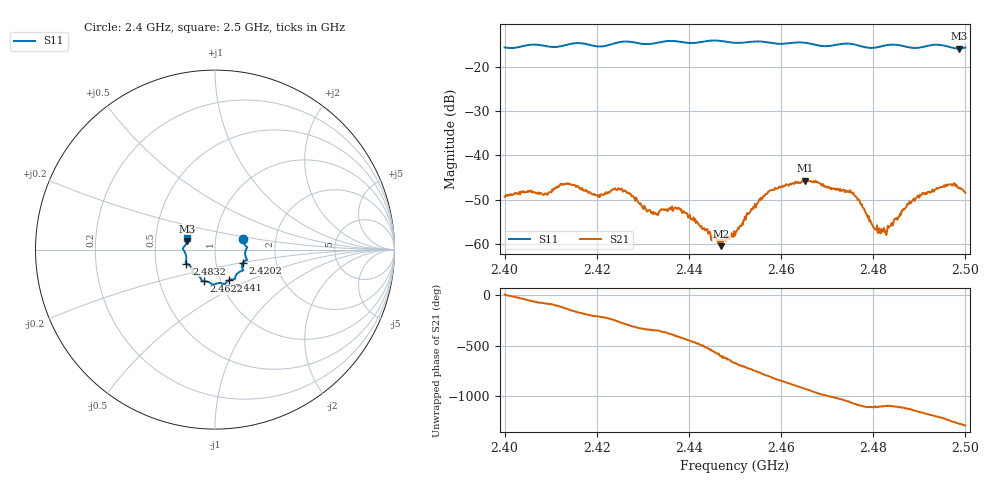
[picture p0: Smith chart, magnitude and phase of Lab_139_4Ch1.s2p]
# Hz S RI R 50
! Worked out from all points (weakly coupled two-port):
!   601 points, 2.4 GHz to 2.5 GHz, reference 50 ohm
!   highest |S21| = -45.69 dB at 2.4652 GHz (marker M1); lowest = -60.6 dB at 2.447 GHz (marker M2)
!   lowest |S11| = -15.8 dB at 2.4987 GHz (marker M3), VSWR 1.39, Z = 36.4 + j3.38 ohm
!   |S11| at or under -10 dB: start of sweep to end of sweep
!   S12 and S22 are empty: the file has one direction only
!   S11 on the Smith chart (normalised r, x): 2.4 GHz: 1.36, +0.17; 2.4202 GHz: 1.35, -0.20; 2.441 GHz: 1.09, -0.39; 2.4622 GHz: 0.83, -0.30; 2.4832 GHz: 0.72, -0.12; 2.5 GHz: 0.73, +0.10
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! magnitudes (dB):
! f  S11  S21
! 2.4 GHz  -15.5  -49.4
! 2.4088 GHz  -15.2  -48.6
! 2.4133 GHz  -15.0  -46.5
! 2.4167 GHz  -14.6  -47.7
! 2.4202 GHz  -15.3  -49.0
! 2.425 GHz  -14.3  -47.7
! 2.4333 GHz  -14.4  -53.5
! 2.4375 GHz  -14.2  -52.2
! 2.441 GHz  -14.5  -54.0
! 2.447 GHz  -14.1  -60.6
! 2.45 GHz  -14.5  -58.2
! 2.4572 GHz  -14.4  -48.3
! 2.4622 GHz  -14.5  -46.6
! 2.4652 GHz  -14.5  -45.7
! 2.4667 GHz  -14.7  -45.9
! 2.4752 GHz  -14.7  -48.3
! 2.4802 GHz  -15.6  -56.4
! 2.4832 GHz  -15.0  -55.9
! 2.4833 GHz  -15.0  -56.4
! 2.4907 GHz  -15.5  -48.6
! 2.4987 GHz  -15.8  -47.3
! 2.5 GHz  -15.6  -48.5
